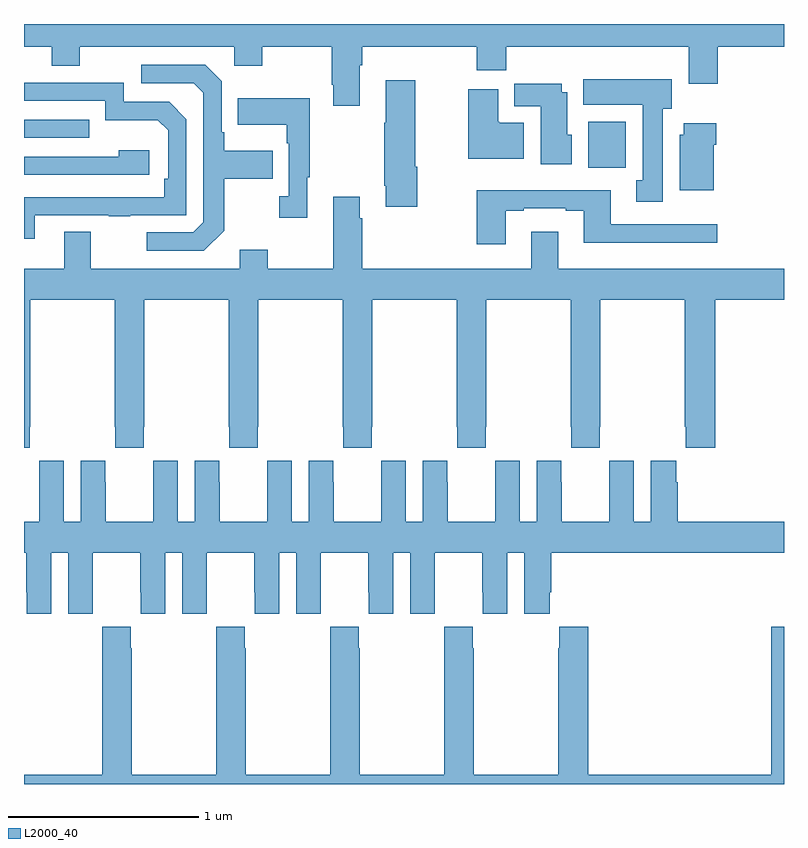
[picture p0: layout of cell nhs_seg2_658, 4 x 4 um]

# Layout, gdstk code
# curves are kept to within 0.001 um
import gdstk
lib = gdstk.Library(unit=1e-6, precision=1e-09)
def R(c, l, rs):  # rectangles x0, y0, x1, y1
    for r in rs: c.add(gdstk.rectangle(r[:2], r[2:], *l))
def P(c, l, *ps):  # polygons
    for p in ps: c.add(gdstk.Polygon(p, *l))
L2000_40 = (2000, 40)

nhs_seg2_658 = lib.new_cell('nhs_seg2_658')
R(nhs_seg2_658, L2000_40, [(147.971,603.044,148.168,603.286), (145,603.201,145.343,603.297)])
P(nhs_seg2_658, L2000_40, [(146.767,603.584),(146.78,603.584),(146.78,603.68),(147.383,603.68),(147.383,603.556),(147.539,603.556),(147.539,603.68),(148.499,603.68),(148.499,603.486),(148.652,603.486),(148.652,603.68),(149,603.68),(149,603.8),(145,603.8),(145,603.68),(145.145,603.68),(145.145,603.581),(145.293,603.581),(145.293,603.68),(146.106,603.68),(146.106,603.581),(146.253,603.581),(146.253,603.68),(146.62,603.68),(146.62,603.481),(146.627,603.481),(146.627,603.369),(146.767,603.369)],
  [(146.053,602.713),(146.053,602.986),(146.309,602.986),(146.309,603.133),(146.053,603.133),(146.053,603.229),(146.04,603.229),(146.04,603.498),(145.953,603.585),(145.617,603.585),(145.617,603.489),(145.893,603.489),(145.944,603.438),(145.944,602.757),(145.89,602.703),(145.647,602.703),(145.647,602.607),(145.947,602.607)],
  [(148.363,603.354),(148.408,603.354),(148.408,603.508),(147.944,603.508),(147.944,603.374),(148.256,603.374),(148.256,602.978),(148.223,602.978),(148.223,602.865),(148.363,602.865)],
  [(147.071,603.05),(147.058,603.05),(147.058,603.505),(146.903,603.505),(146.903,603.281),(146.896,603.281),(146.896,602.95),(146.903,602.95),(146.903,602.838),(147.071,602.838)],
  [(145.057,602.793),(145.447,602.793),(145.447,602.788),(145.559,602.788),(145.559,602.793),(145.854,602.793),(145.854,603.3),(145.764,603.39),(145.524,603.39),(145.524,603.492),(145,603.492),(145,603.396),(145.428,603.396),(145.428,603.293),(145.705,603.293),(145.758,603.24),(145.758,602.986),(145.738,602.986),(145.738,602.889),(145,602.888),(145,602.67),(145.057,602.67)],
  [(147.883,603.216),(147.859,603.216),(147.859,603.442),(147.829,603.442),(147.829,603.486),(147.581,603.486),(147.581,603.368),(147.719,603.368),(147.719,603.062),(147.883,603.062)],
  [(147.631,603.28),(147.502,603.28),(147.502,603.286),(147.496,603.286),(147.496,603.457),(147.338,603.457),(147.338,603.092),(147.631,603.092)],
  [(146.491,602.993),(146.503,602.993),(146.503,603.409),(146.125,603.409),(146.125,603.269),(146.382,603.269),(146.382,603.173),(146.394,603.173),(146.394,602.894),(146.343,602.894),(146.343,602.781),(146.491,602.781)],
  [(148.63,603.164),(148.643,603.164),(148.643,603.277),(148.472,603.277),(148.472,603.216),(148.451,603.216),(148.451,602.924),(148.63,602.924)],
  [(145.66,603.136),(145.499,603.136),(145.499,603.102),(145,603.102),(145,603.006),(145.66,603.006)],
  [(147.535,602.817),(147.631,602.817),(147.631,602.829),(147.851,602.829),(147.851,602.817),(147.947,602.817),(147.947,602.648),(148.648,602.648),(148.648,602.745),(148.087,602.745),(148.087,602.926),(147.383,602.926),(147.383,602.64),(147.535,602.64)],
  [(145.029,601.681),(145.032,601.681),(145.032,602.348),(145.477,602.348),(145.477,601.681),(145.479,601.681),(145.479,601.569),(145.629,601.569),(145.629,601.681),(145.632,601.681),(145.632,602.348),(146.077,602.348),(146.077,601.681),(146.079,601.681),(146.079,601.569),(146.229,601.569),(146.229,601.681),(146.232,601.681),(146.232,602.348),(146.677,602.348),(146.677,601.681),(146.679,601.681),(146.679,601.569),(146.829,601.569),(146.829,601.681),(146.832,601.681),(146.832,602.348),(147.277,602.348),(147.277,601.681),(147.279,601.681),(147.279,601.569),(147.429,601.569),(147.429,601.681),(147.432,601.681),(147.432,602.348),(147.877,602.348),(147.877,601.681),(147.879,601.681),(147.879,601.569),(148.029,601.569),(148.029,601.681),(148.032,601.681),(148.032,602.348),(148.477,602.348),(148.477,601.681),(148.483,601.681),(148.483,601.569),(148.637,601.569),(148.637,602.348),(149,602.348),(149,602.512),(147.811,602.512),(147.811,602.707),(147.671,602.707),(147.671,602.512),(146.78,602.512),(146.78,602.777),(146.767,602.777),(146.767,602.89),(146.627,602.89),(146.627,602.512),(146.283,602.512),(146.283,602.611),(146.135,602.611),(146.135,602.512),(145.351,602.512),(145.351,602.707),(145.211,602.707),(145.211,602.512),(145,602.512),(145,601.569),(145.029,601.569)],
  [(147.162,600.808),(147.163,600.808),(147.163,601.016),(147.413,601.016),(147.413,600.808),(147.414,600.808),(147.414,600.696),(147.544,600.696),(147.544,601.016),(147.632,601.016),(147.632,600.696),(147.766,600.696),(147.766,600.808),(147.776,600.808),(147.776,601.016),(149,601.016),(149,601.18),(148.442,601.18),(148.442,601.388),(148.432,601.388),(148.432,601.501),(148.298,601.501),(148.298,601.18),(148.21,601.18),(148.21,601.501),(148.08,601.501),(148.08,601.388),(148.079,601.388),(148.079,601.18),(147.829,601.18),(147.829,601.388),(147.828,601.388),(147.828,601.501),(147.698,601.501),(147.698,601.18),(147.61,601.18),(147.61,601.501),(147.48,601.501),(147.48,601.388),(147.479,601.388),(147.479,601.18),(147.229,601.18),(147.229,601.388),(147.228,601.388),(147.228,601.501),(147.098,601.501),(147.098,601.18),(147.01,601.18),(147.01,601.501),(146.88,601.501),(146.88,601.388),(146.879,601.388),(146.879,601.18),(146.629,601.18),(146.629,601.388),(146.628,601.388),(146.628,601.501),(146.498,601.501),(146.498,601.18),(146.41,601.18),(146.41,601.501),(146.28,601.501),(146.28,601.388),(146.279,601.388),(146.279,601.18),(146.029,601.18),(146.029,601.388),(146.028,601.388),(146.028,601.501),(145.898,601.501),(145.898,601.18),(145.81,601.18),(145.81,601.501),(145.68,601.501),(145.68,601.388),(145.679,601.388),(145.679,601.18),(145.429,601.18),(145.429,601.388),(145.428,601.388),(145.428,601.501),(145.298,601.501),(145.298,601.18),(145.21,601.18),(145.21,601.501),(145.08,601.501),(145.08,601.388),(145.079,601.388),(145.079,601.18),(145,601.18),(145,601.016),(145.013,601.016),(145.013,600.808),(145.014,600.808),(145.014,600.696),(145.144,600.696),(145.144,601.016),(145.232,601.016),(145.232,600.696),(145.362,600.696),(145.362,600.808),(145.363,600.808),(145.363,601.016),(145.613,601.016),(145.613,600.808),(145.614,600.808),(145.614,600.696),(145.744,600.696),(145.744,601.016),(145.832,601.016),(145.832,600.696),(145.962,600.696),(145.962,600.808),(145.963,600.808),(145.963,601.016),(146.213,601.016),(146.213,600.808),(146.214,600.808),(146.214,600.696),(146.344,600.696),(146.344,601.016),(146.432,601.016),(146.432,600.696),(146.562,600.696),(146.562,600.808),(146.563,600.808),(146.563,601.016),(146.813,601.016),(146.813,600.808),(146.814,600.808),(146.814,600.696),(146.944,600.696),(146.944,601.016),(147.032,601.016),(147.032,600.696),(147.162,600.696)],
  [(149,600.628),(148.934,600.628),(148.934,599.848),(147.971,599.848),(147.971,600.628),(147.817,600.628),(147.817,600.515),(147.811,600.515),(147.811,599.848),(147.366,599.848),(147.366,600.515),(147.363,600.515),(147.363,600.628),(147.213,600.628),(147.213,600.515),(147.211,600.515),(147.211,599.848),(146.766,599.848),(146.766,600.515),(146.763,600.515),(146.763,600.628),(146.613,600.628),(146.613,600.515),(146.611,600.515),(146.611,599.848),(146.166,599.848),(146.166,600.515),(146.163,600.515),(146.163,600.628),(146.013,600.628),(146.013,600.515),(146.011,600.515),(146.011,599.848),(145.566,599.848),(145.566,600.515),(145.563,600.515),(145.563,600.628),(145.413,600.628),(145.413,600.515),(145.411,600.515),(145.411,599.848),(145,599.848),(145,599.8),(149,599.8)])

lib.write_gds('nhs_seg2_658.gds')
